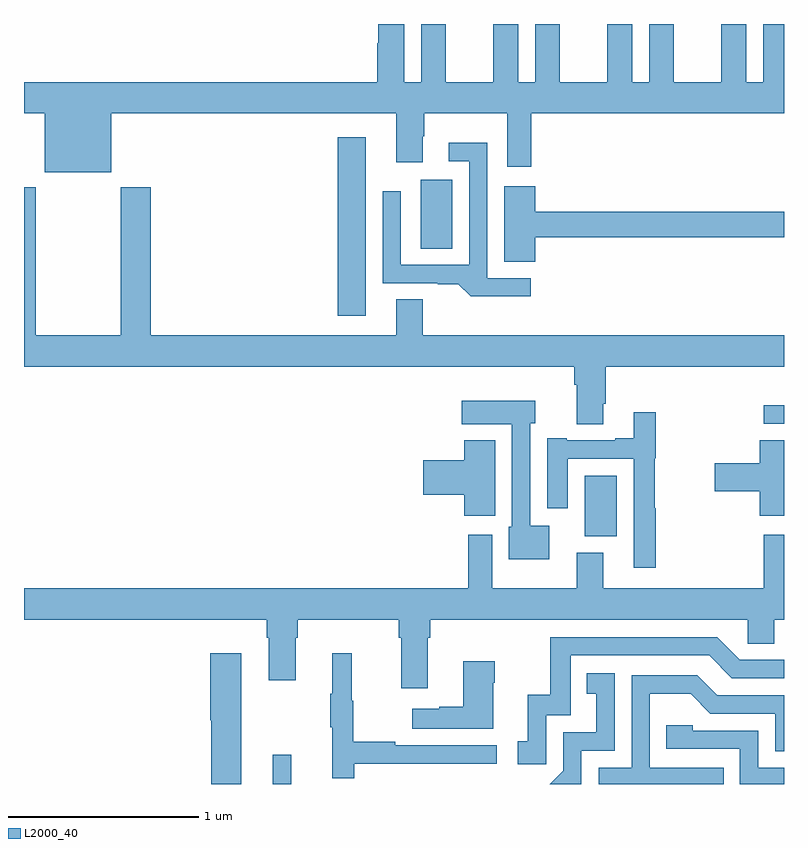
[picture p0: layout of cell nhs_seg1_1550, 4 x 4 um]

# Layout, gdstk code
import gdstk
lib = gdstk.Library(unit=1e-6, precision=1e-09)
def R(c, l, rs):  # rectangles x0, y0, x1, y1
    for r in rs: c.add(gdstk.rectangle(r[:2], r[2:], *l))
def P(c, l, *ps):  # polygons
    for p in ps: c.add(gdstk.Polygon(p, *l))
L2000_40 = (2000, 40)

nhs_seg1_1550 = lib.new_cell('nhs_seg1_1550')
R(nhs_seg1_1550, L2000_40, [(196.31,552.199,196.407,552.352), (197.951,553.502,198.121,553.822), (198.894,554.094,199,554.192), (196.652,554.664,196.798,555.604), (197.087,555.016,197.254,555.379)])
P(nhs_seg1_1550, L2000_40, [(197.543,555.447),(197.669,555.447),(197.669,555.728),(199,555.728),(199,556.199),(198.89,556.199),(198.89,555.892),(198.802,555.892),(198.802,556.199),(198.671,556.199),(198.671,555.892),(198.421,555.892),(198.421,556.199),(198.29,556.199),(198.29,555.892),(198.202,555.892),(198.202,556.199),(198.071,556.199),(198.071,555.892),(197.821,555.892),(197.821,556.199),(197.69,556.199),(197.69,555.892),(197.602,555.892),(197.602,556.199),(197.471,556.199),(197.471,555.892),(197.221,555.892),(197.221,556.199),(197.09,556.199),(197.09,555.892),(197.002,555.892),(197.002,556.199),(196.865,556.199),(196.865,556.097),(196.859,556.097),(196.859,555.892),(195,555.892),(195,555.728),(195.11,555.728),(195.11,555.419),(195.46,555.419),(195.46,555.728),(196.958,555.728),(196.958,555.471),(197.098,555.471),(197.098,555.608),(197.106,555.608),(197.106,555.728),(197.543,555.728)],
  [(197.668,554.862),(197.439,554.862),(197.439,555.574),(197.235,555.574),(197.235,555.477),(197.343,555.477),(197.343,554.931),(196.983,554.931),(196.983,555.319),(196.887,555.319),(196.887,554.835),(197.177,554.835),(197.177,554.83),(197.285,554.83),(197.351,554.765),(197.668,554.765)],
  [(197.69,555.076),(199,555.076),(199,555.212),(197.69,555.212),(197.69,555.346),(197.528,555.346),(197.528,554.947),(197.69,554.947)],
  [(198.049,554.2),(198.062,554.2),(198.062,554.396),(199,554.396),(199,554.56),(197.098,554.56),(197.098,554.75),(196.958,554.75),(196.958,554.56),(195.668,554.56),(195.668,555.34),(195.508,555.34),(195.508,554.56),(195.063,554.56),(195.063,555.34),(195,555.34),(195,554.396),(197.897,554.396),(197.897,554.3),(197.909,554.3),(197.909,554.092),(198.049,554.092)],
  [(197.764,553.558),(197.664,553.558),(197.664,554.097),(197.692,554.097),(197.692,554.215),(197.304,554.215),(197.304,554.093),(197.568,554.093),(197.568,553.554),(197.552,553.554),(197.552,553.382),(197.764,553.382)],
  [(198.326,553.65),(198.319,553.65),(198.319,553.914),(198.326,553.914),(198.326,554.155),(198.209,554.155),(198.209,554.02),(198.113,554.02),(198.113,554.007),(197.857,554.007),(197.857,554.02),(197.753,554.02),(197.753,553.65),(197.863,553.65),(197.863,553.911),(198.21,553.911),(198.21,553.338),(198.326,553.338)],
  [(199,554.009),(198.872,554.009),(198.872,553.886),(198.636,553.886),(198.636,553.739),(198.872,553.739),(198.872,553.611),(199,553.611)],
  [(197.479,554.008),(197.318,554.008),(197.318,553.904),(197.1,553.904),(197.1,553.721),(197.318,553.721),(197.318,553.611),(197.479,553.611)],
  [(197.125,552.968),(197.138,552.968),(197.138,553.064),(198.81,553.064),(198.81,552.937),(198.949,552.937),(198.949,553.064),(199,553.064),(199,553.51),(198.893,553.51),(198.893,553.228),(198.049,553.228),(198.049,553.417),(197.909,553.417),(197.909,553.228),(197.464,553.228),(197.464,553.51),(197.339,553.51),(197.339,553.228),(195,553.228),(195,553.064),(196.277,553.064),(196.277,552.968),(196.289,552.968),(196.289,552.744),(196.429,552.744),(196.429,552.968),(196.442,552.968),(196.442,553.064),(196.973,553.064),(196.973,552.968),(196.985,552.968),(196.985,552.702),(197.125,552.702)],
  [(197.748,552.561),(197.877,552.561),(197.877,552.876),(198.606,552.876),(198.726,552.756),(199,552.756),(199,552.852),(198.768,552.852),(198.648,552.972),(197.769,552.972),(197.769,552.67),(197.651,552.67),(197.651,552.423),(197.598,552.423),(197.598,552.303),(197.748,552.303)],
  [(196.739,552.306),(197.488,552.306),(197.488,552.402),(196.955,552.402),(196.955,552.422),(196.732,552.422),(196.732,552.636),(196.724,552.636),(196.724,552.886),(196.622,552.886),(196.622,552.673),(196.611,552.673),(196.611,552.499),(196.622,552.499),(196.622,552.228),(196.739,552.228)],
  [(196.144,552.886),(195.98,552.886),(195.98,552.534),(195.986,552.534),(195.986,552.199),(196.144,552.199)],
  [(197.47,552.731),(197.478,552.731),(197.478,552.844),(197.312,552.844),(197.312,552.605),(197.186,552.605),(197.186,552.595),(197.043,552.595),(197.043,552.491),(197.47,552.491)],
  [(197.934,552.375),(198.108,552.375),(198.108,552.781),(197.962,552.781),(197.962,552.675),(198.011,552.675),(198.011,552.471),(197.838,552.471),(197.838,552.27),(197.767,552.199),(197.934,552.199)],
  [(198.683,552.285),(198.294,552.285),(198.294,552.674),(198.508,552.674),(198.612,552.57),(198.954,552.57),(198.954,552.372),(199,552.372),(199,552.666),(198.649,552.666),(198.544,552.771),(198.198,552.771),(198.198,552.285),(198.024,552.285),(198.024,552.199),(198.683,552.199)],
  [(199,552.285),(198.864,552.285),(198.864,552.48),(198.519,552.48),(198.519,552.507),(198.379,552.507),(198.379,552.384),(198.768,552.384),(198.768,552.199),(199,552.199)])

lib.write_gds('nhs_seg1_1550.gds')
